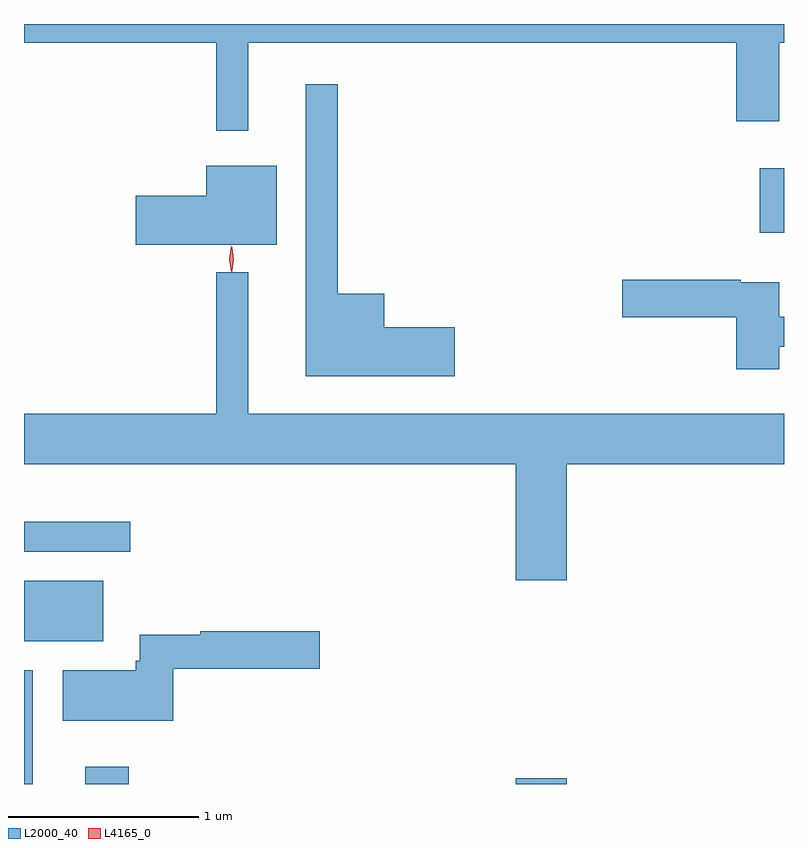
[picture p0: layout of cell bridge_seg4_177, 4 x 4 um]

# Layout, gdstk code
import gdstk
lib = gdstk.Library(unit=1e-6, precision=1e-09)
def R(c, l, rs):  # rectangles x0, y0, x1, y1
    for r in rs: c.add(gdstk.rectangle(r[:2], r[2:], *l))
def P(c, l, *ps):  # polygons
    for p in ps: c.add(gdstk.Polygon(p, *l))
L2000_40 = (2000, 40)
L4165_0 = (4165, 0)

bridge_seg4_177 = lib.new_cell('bridge_seg4_177')
R(bridge_seg4_177, L2000_40, [(891.808,1290.834,891.854,1291.434), (892.131,1290.834,892.359,1290.924), (894.396,1290.834,894.664,1290.864), (891.808,1291.586,892.224,1291.904), (891.808,1292.056,892.368,1292.214), (895.681,1293.736,895.808,1294.074)])
P(bridge_seg4_177, L2000_40, [(892.989,1294.736),(895.556,1294.736),(895.556,1294.321),(895.784,1294.321),(895.784,1294.736),(895.808,1294.736),(895.808,1294.834),(891.808,1294.834),(891.808,1294.736),(892.821,1294.736),(892.821,1294.273),(892.989,1294.273)],
  [(894.074,1293.239),(893.704,1293.239),(893.704,1293.414),(893.459,1293.414),(893.459,1294.518),(893.291,1294.518),(893.291,1292.981),(894.074,1292.981)],
  [(893.139,1294.089),(892.766,1294.089),(892.766,1293.929),(892.396,1293.929),(892.396,1293.671),(893.139,1293.671)],
  [(894.664,1292.516),(895.808,1292.516),(895.808,1292.784),(892.989,1292.784),(892.989,1293.528),(892.821,1293.528),(892.821,1292.784),(891.808,1292.784),(891.808,1292.516),(894.396,1292.516),(894.396,1291.906),(894.664,1291.906)],
  [(895.784,1293.136),(895.808,1293.136),(895.808,1293.294),(895.784,1293.294),(895.784,1293.474),(895.58,1293.474),(895.58,1293.489),(894.956,1293.489),(894.956,1293.291),(895.556,1293.291),(895.556,1293.016),(895.784,1293.016)],
  [(892.594,1291.441),(893.364,1291.441),(893.364,1291.639),(892.736,1291.639),(892.736,1291.619),(892.416,1291.619),(892.416,1291.484),(892.396,1291.484),(892.396,1291.434),(892.011,1291.434),(892.011,1291.166),(892.594,1291.166)])
P(bridge_seg4_177, L4165_0, [(892.902,1293.533),(892.902,1293.533),(892.892,1293.596),(892.902,1293.659),(892.902,1293.66),(892.903,1293.659),(892.912,1293.596),(892.903,1293.533)],
  [(892.899,1293.53),(892.889,1293.598),(892.898,1293.666),(892.899,1293.666),(892.899,1293.666),(892.909,1293.598),(892.9,1293.53),(892.9,1293.53)])

lib.write_gds('bridge_seg4_177.gds')
